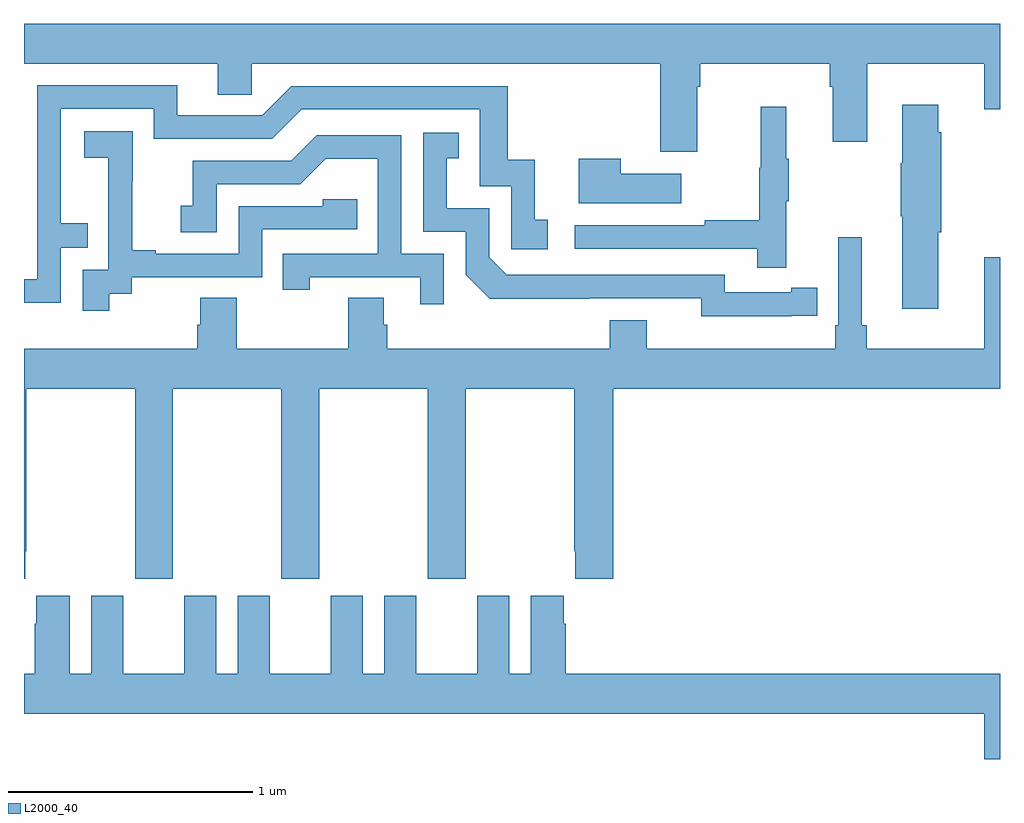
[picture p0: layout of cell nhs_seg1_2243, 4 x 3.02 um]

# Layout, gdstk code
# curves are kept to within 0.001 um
import gdstk
lib = gdstk.Library(unit=1e-6, precision=1e-09)
def P(c, l, *ps):  # polygons
    for p in ps: c.add(gdstk.Polygon(p, *l))
L2000_40 = (2000, 40)

nhs_seg1_2243 = lib.new_cell('nhs_seg1_2243')
P(nhs_seg1_2243, L2000_40, [(235.759,552.968),(235.772,552.968),(235.772,553.064),(236.303,553.064),(236.303,552.968),(236.315,552.968),(236.315,552.744),(236.455,552.744),(236.455,553.064),(236.936,553.064),(236.936,552.876),(237,552.876),(237,553.228),(233,553.228),(233,553.064),(233.795,553.064),(233.795,552.937),(233.934,552.937),(233.934,553.064),(235.607,553.064),(235.607,552.702),(235.759,552.702)],
  [(233.151,552.309),(233.261,552.309),(233.261,552.41),(233.151,552.41),(233.151,552.879),(233.532,552.879),(233.532,552.756),(234.018,552.756),(234.138,552.876),(234.867,552.876),(234.867,552.561),(234.996,552.561),(234.996,552.303),(235.147,552.303),(235.147,552.423),(235.094,552.423),(235.094,552.67),(234.983,552.67),(234.983,552.972),(234.096,552.972),(233.976,552.852),(233.629,552.852),(233.629,552.975),(233.055,552.975),(233.055,552.18),(233,552.18),(233,552.084),(233.151,552.084)],
  [(236.746,552.372),(236.759,552.372),(236.759,552.782),(236.746,552.782),(236.746,552.895),(236.6,552.895),(236.6,552.656),(236.593,552.656),(236.593,552.439),(236.6,552.439),(236.6,552.06),(236.746,552.06)],
  [(236.123,552.499),(236.134,552.499),(236.134,552.673),(236.123,552.673),(236.123,552.886),(236.02,552.886),(236.02,552.636),(236.013,552.636),(236.013,552.422),(235.789,552.422),(235.789,552.402),(235.257,552.402),(235.257,552.306),(236.005,552.306),(236.005,552.228),(236.123,552.228)],
  [(233.35,552.121),(233.442,552.121),(233.442,552.189),(233.976,552.189),(233.976,552.384),(234.365,552.384),(234.365,552.507),(234.225,552.507),(234.225,552.48),(233.88,552.48),(233.88,552.285),(233.539,552.285),(233.539,552.298),(233.444,552.298),(233.444,552.581),(233.445,552.581),(233.445,552.787),(233.247,552.787),(233.247,552.677),(233.345,552.677),(233.345,552.449),(233.346,552.449),(233.346,552.219),(233.241,552.219),(233.241,552.051),(233.35,552.051)],
  [(236.144,552.03),(236.252,552.03),(236.252,552.146),(236.144,552.146),(236.144,552.126),(235.872,552.126),(235.872,552.198),(234.978,552.198),(234.906,552.27),(234.906,552.471),(234.733,552.471),(234.733,552.675),(234.782,552.675),(234.782,552.781),(234.636,552.781),(234.636,552.375),(234.81,552.375),(234.81,552.198),(234.908,552.101),(235.776,552.102),(235.776,552.029)],
  [(234.72,552.285),(234.546,552.285),(234.546,552.771),(234.2,552.771),(234.095,552.666),(233.692,552.666),(233.692,552.481),(233.643,552.481),(233.643,552.372),(233.79,552.372),(233.79,552.57),(234.132,552.57),(234.236,552.674),(234.45,552.674),(234.45,552.285),(234.061,552.285),(234.061,552.138),(234.172,552.138),(234.172,552.189),(234.623,552.189),(234.623,552.078),(234.72,552.078)],
  [(235.693,552.613),(235.445,552.613),(235.445,552.673),(235.274,552.673),(235.274,552.491),(235.693,552.491)],
  [(233.871,552.104),(233.723,552.104),(233.723,551.994),(233.711,551.994),(233.711,551.896),(233,551.896),(233,550.953),(233.005,550.953),(233.005,551.065),(233.01,551.065),(233.01,551.732),(233.455,551.732),(233.455,550.953),(233.61,550.953),(233.61,551.732),(234.055,551.732),(234.055,550.953),(234.21,550.953),(234.21,551.732),(234.655,551.732),(234.655,550.953),(234.81,550.953),(234.81,551.732),(235.255,551.732),(235.255,551.065),(235.259,551.065),(235.259,550.953),(235.415,550.953),(235.415,551.732),(237,551.732),(237,552.271),(236.936,552.271),(236.936,551.896),(236.453,551.896),(236.453,551.992),(236.434,551.992),(236.434,552.352),(236.337,552.352),(236.337,551.992),(236.324,551.992),(236.324,551.896),(235.552,551.896),(235.552,552.013),(235.4,552.013),(235.4,551.896),(234.488,551.896),(234.488,551.994),(234.475,551.994),(234.475,552.104),(234.328,552.104),(234.328,551.896),(233.871,551.896)],
  [(237,550.564),(235.22,550.564),(235.22,550.769),(235.213,550.769),(235.213,550.882),(235.076,550.882),(235.076,550.564),(234.988,550.564),(234.988,550.882),(234.857,550.882),(234.857,550.564),(234.607,550.564),(234.607,550.882),(234.476,550.882),(234.476,550.564),(234.388,550.564),(234.388,550.882),(234.257,550.882),(234.257,550.564),(234.007,550.564),(234.007,550.882),(233.876,550.882),(233.876,550.564),(233.788,550.564),(233.788,550.882),(233.657,550.882),(233.657,550.564),(233.407,550.564),(233.407,550.882),(233.276,550.882),(233.276,550.564),(233.188,550.564),(233.188,550.882),(233.051,550.882),(233.051,550.769),(233.045,550.769),(233.045,550.564),(233,550.564),(233,550.4),(236.936,550.4),(236.936,550.212),(237,550.212)])

lib.write_gds('nhs_seg1_2243.gds')
